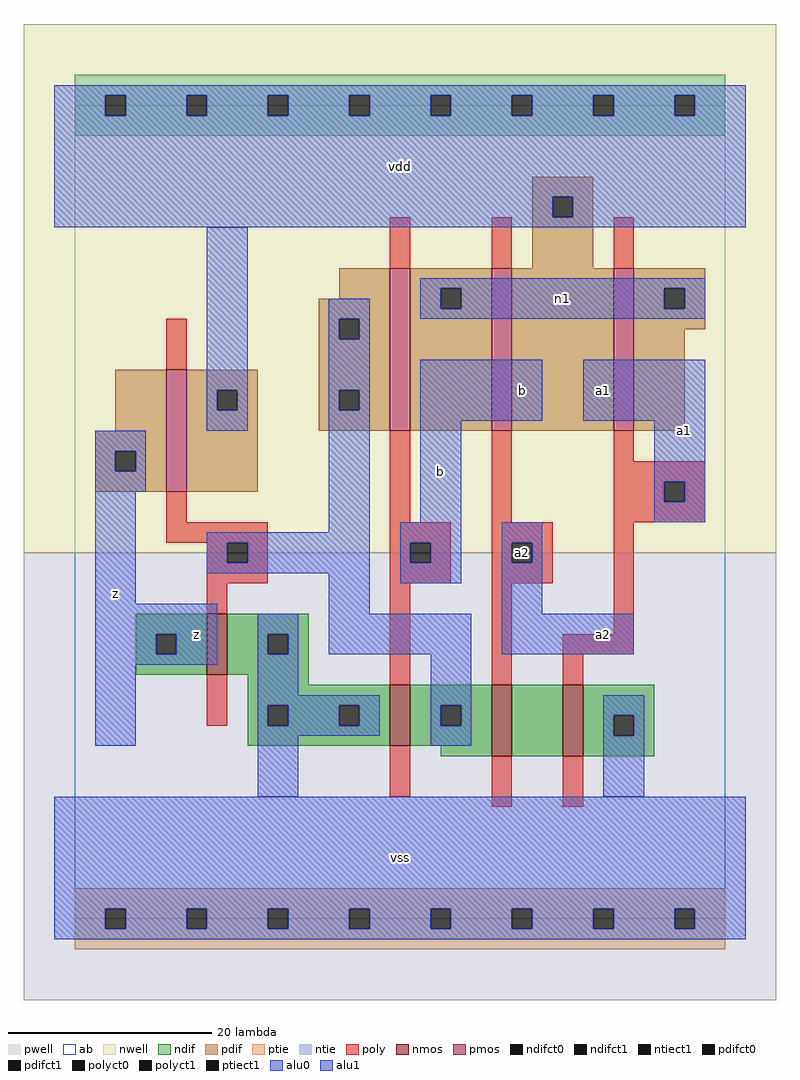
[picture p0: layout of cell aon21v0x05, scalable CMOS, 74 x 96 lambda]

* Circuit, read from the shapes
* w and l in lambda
.subckt aon21v0x05 a1 a2 b n1 vdd vss z
M1 vss n2 z vss nfet w=6 l=2
M2 n2 b vss vss nfet w=6 l=2
M3 n3 a2 n2 vss nfet w=7 l=2
M4 vss a1 n3 vss nfet w=7 l=2
M5 vdd n2 z vdd pfet w=12 l=2
M6 n1 b n2 vdd pfet w=16 l=2
M7 vdd a2 n1 vdd pfet w=16 l=2
M8 n1 a1 vdd vdd pfet w=16 l=2
.ends

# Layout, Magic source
magic
tech scmos
<< ab >>
rect 0 0 64 80
<< nwell >>
rect -5 36 69 88
<< pwell >>
rect -5 -8 69 36
<< poly >>
rect 31 64 33 69
rect 41 64 43 69
rect 53 64 55 69
rect 9 54 11 59
rect 9 39 11 42
rect 31 39 33 48
rect 41 39 43 48
rect 53 45 55 48
rect 53 43 62 45
rect 53 41 58 43
rect 60 41 62 43
rect 53 39 62 41
rect 9 37 19 39
rect 13 35 15 37
rect 17 35 19 37
rect 13 33 19 35
rect 31 37 37 39
rect 31 35 33 37
rect 35 35 37 37
rect 31 33 37 35
rect 41 37 47 39
rect 41 35 43 37
rect 45 35 47 37
rect 41 33 47 35
rect 13 30 15 33
rect 13 19 15 24
rect 31 23 33 33
rect 41 23 43 33
rect 53 28 55 39
rect 48 26 55 28
rect 48 23 50 26
rect 31 12 33 17
rect 41 11 43 16
rect 48 11 50 16
<< ndif >>
rect 6 28 13 30
rect 6 26 8 28
rect 10 26 13 28
rect 6 24 13 26
rect 15 28 23 30
rect 15 26 19 28
rect 21 26 23 28
rect 15 24 23 26
rect 17 23 23 24
rect 17 21 31 23
rect 17 19 19 21
rect 21 19 26 21
rect 28 19 31 21
rect 17 17 31 19
rect 33 21 41 23
rect 33 19 36 21
rect 38 19 41 21
rect 33 17 41 19
rect 36 16 41 17
rect 43 16 48 23
rect 50 20 57 23
rect 50 18 53 20
rect 55 18 57 20
rect 50 16 57 18
<< pdif >>
rect 45 71 51 73
rect 45 69 47 71
rect 49 69 51 71
rect 45 64 51 69
rect 26 61 31 64
rect 24 59 31 61
rect 24 57 26 59
rect 28 57 31 59
rect 4 48 9 54
rect 2 46 9 48
rect 2 44 4 46
rect 6 44 9 46
rect 2 42 9 44
rect 11 52 18 54
rect 11 50 14 52
rect 16 50 18 52
rect 11 42 18 50
rect 24 52 31 57
rect 24 50 26 52
rect 28 50 31 52
rect 24 48 31 50
rect 33 62 41 64
rect 33 60 36 62
rect 38 60 41 62
rect 33 48 41 60
rect 43 48 53 64
rect 55 62 62 64
rect 55 60 58 62
rect 60 60 62 62
rect 55 58 62 60
rect 55 48 60 58
<< alu1 >>
rect -2 81 66 82
rect -2 79 3 81
rect 5 79 11 81
rect 13 79 19 81
rect 21 79 27 81
rect 29 79 35 81
rect 37 79 43 81
rect 45 79 51 81
rect 53 79 59 81
rect 61 79 66 81
rect -2 71 66 79
rect -2 69 47 71
rect 49 69 66 71
rect -2 68 66 69
rect 2 46 7 48
rect 2 44 4 46
rect 6 44 7 46
rect 2 42 7 44
rect 2 31 6 42
rect 34 49 46 55
rect 50 49 62 55
rect 34 39 38 49
rect 57 43 62 49
rect 57 41 58 43
rect 60 41 62 43
rect 57 39 62 41
rect 2 28 14 31
rect 32 37 38 39
rect 32 35 33 37
rect 35 35 38 37
rect 32 33 38 35
rect 42 37 46 39
rect 42 35 43 37
rect 45 35 46 37
rect 42 30 46 35
rect 2 26 8 28
rect 10 26 14 28
rect 2 25 14 26
rect 42 26 55 30
rect 2 17 6 25
rect -2 1 66 12
rect -2 -1 3 1
rect 5 -1 11 1
rect 13 -1 19 1
rect 21 -1 27 1
rect 29 -1 35 1
rect 37 -1 43 1
rect 45 -1 51 1
rect 53 -1 59 1
rect 61 -1 66 1
rect -2 -2 66 -1
<< ptie >>
rect 0 1 64 3
rect 0 -1 3 1
rect 5 -1 11 1
rect 13 -1 19 1
rect 21 -1 27 1
rect 29 -1 35 1
rect 37 -1 43 1
rect 45 -1 51 1
rect 53 -1 59 1
rect 61 -1 64 1
rect 0 -3 64 -1
<< ntie >>
rect 0 81 64 83
rect 0 79 3 81
rect 5 79 11 81
rect 13 79 19 81
rect 21 79 27 81
rect 29 79 35 81
rect 37 79 43 81
rect 45 79 51 81
rect 53 79 59 81
rect 61 79 64 81
rect 0 77 64 79
<< nmos >>
rect 13 24 15 30
rect 31 17 33 23
rect 41 16 43 23
rect 48 16 50 23
<< pmos >>
rect 9 42 11 54
rect 31 48 33 64
rect 41 48 43 64
rect 53 48 55 64
<< polyct0 >>
rect 15 35 17 37
<< polyct1 >>
rect 58 41 60 43
rect 33 35 35 37
rect 43 35 45 37
<< ndifct0 >>
rect 19 26 21 28
rect 19 19 21 21
rect 26 19 28 21
rect 36 19 38 21
rect 53 18 55 20
<< ndifct1 >>
rect 8 26 10 28
<< ntiect1 >>
rect 3 79 5 81
rect 11 79 13 81
rect 19 79 21 81
rect 27 79 29 81
rect 35 79 37 81
rect 43 79 45 81
rect 51 79 53 81
rect 59 79 61 81
<< ptiect1 >>
rect 3 -1 5 1
rect 11 -1 13 1
rect 19 -1 21 1
rect 27 -1 29 1
rect 35 -1 37 1
rect 43 -1 45 1
rect 51 -1 53 1
rect 59 -1 61 1
<< pdifct0 >>
rect 26 57 28 59
rect 14 50 16 52
rect 26 50 28 52
rect 36 60 38 62
rect 58 60 60 62
<< pdifct1 >>
rect 47 69 49 71
rect 4 44 6 46
<< alu0 >>
rect 13 52 17 68
rect 34 62 62 63
rect 13 50 14 52
rect 16 50 17 52
rect 13 48 17 50
rect 25 59 29 61
rect 34 60 36 62
rect 38 60 58 62
rect 60 60 62 62
rect 34 59 62 60
rect 25 57 26 59
rect 28 57 29 59
rect 25 52 29 57
rect 25 50 26 52
rect 28 50 29 52
rect 25 38 29 50
rect 13 37 29 38
rect 13 35 15 37
rect 17 35 29 37
rect 13 34 29 35
rect 25 30 29 34
rect 18 28 22 30
rect 18 26 19 28
rect 21 26 22 28
rect 25 26 39 30
rect 18 22 22 26
rect 18 21 30 22
rect 18 19 19 21
rect 21 19 26 21
rect 28 19 30 21
rect 18 18 30 19
rect 35 21 39 26
rect 35 19 36 21
rect 38 19 39 21
rect 18 12 22 18
rect 35 17 39 19
rect 52 20 56 22
rect 52 18 53 20
rect 55 18 56 20
rect 52 12 56 18
<< labels >>
rlabel alu0 48 61 48 61 6 n1
rlabel alu1 4 32 4 32 6 z
rlabel alu1 12 28 12 28 6 z
rlabel alu1 32 6 32 6 6 vss
rlabel polyct1 44 36 44 36 6 a2
rlabel alu1 36 44 36 44 6 b
rlabel alu1 44 52 44 52 6 b
rlabel alu1 32 74 32 74 6 vdd
rlabel alu1 52 28 52 28 6 a2
rlabel alu1 52 52 52 52 6 a1
rlabel alu1 60 48 60 48 6 a1
<< end >>
